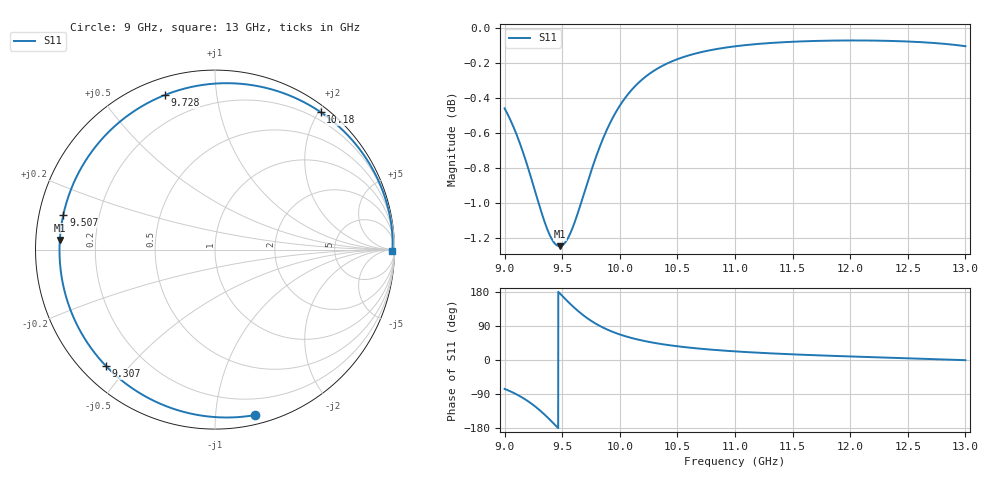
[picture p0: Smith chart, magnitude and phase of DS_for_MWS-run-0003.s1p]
! TOUCHSTONE file generated by CST DESIGN STUDIO
! Date and time: Tue Feb  4 14:00:11 2025
! Project name: C:\Work\MatlabApps\UnitCellOptimizationMatlab\CST\unitcell.cst
! Tree item: Tasks\Sweep1\SPara1\S-Parameters
! Header version: 2024
! Port assignment regex: !\s*Touchstone port\s*([0-9]+)\s*=\s*(CST MWS port|CST DES external port|CST DES block port)\s*(.+)\s* \(\"(.*)\"\)(\s*mode\s*([0-9]+))?.*
! Touchstone port assignment:
! Touchstone port 1 = CST DES external port 1 ("")
# GHz S MA R 50
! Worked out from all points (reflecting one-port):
!   4001 points, 9 GHz to 13 GHz, reference 50 ohm
!   lowest |S11| = -1.2 dB at 9.477 GHz (marker M1), VSWR 13.96, Z = 3.59 + j1.56 ohm
!   phase of S11 starts at -76 deg and turns -284 deg over the sweep
!   S11 on the Smith chart (normalised r, x): 9 GHz: 0.07, -1.27; 9.307 GHz: 0.07, -0.43; 9.507 GHz: 0.07, +0.11; 9.728 GHz: 0.08, +0.72; 10.18 GHz: 0.09, +2.03; 13 GHz: open
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9  0.9486 -76.3
9.076  0.9373 -86.4
9.174  0.9186 -102.9
9.243  0.9032 -117.4
9.307  0.8886 -133.1
9.351  0.8795 -145.2
9.399  0.8717 -159.3
9.439  0.8676 -171.7
9.477  0.8663 176.4
9.5  0.8668 169.2
9.507  0.8671 167.0
9.559  0.8721 151.2
9.62  0.8823 133.9
9.673  0.8933 120.4
9.728  0.9053 108.1
9.782  0.9165 97.5
9.842  0.9278 87.4
9.919  0.94 76.6
10  0.9503 67.4
10.178  0.9658 52.5
10.325  0.9738 43.8
10.5  0.9799 36.2
10.722  0.9847 29.2
11  0.9882 22.8
11.5  0.9912 14.9
12  0.992 9.3
12.5  0.9914 4.5
13  0.9883 -0.5
